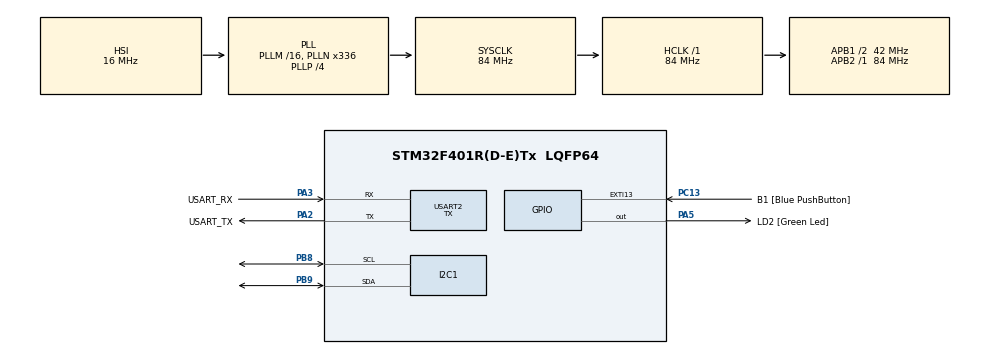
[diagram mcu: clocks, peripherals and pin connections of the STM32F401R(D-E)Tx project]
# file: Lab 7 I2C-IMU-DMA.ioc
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Dma.I2C1_RX.1.Direction=DMA_PERIPH_TO_MEMORY
Dma.I2C1_RX.1.FIFOMode=DMA_FIFOMODE_DISABLE
Dma.I2C1_RX.1.Instance=DMA1_Stream0
Dma.I2C1_RX.1.MemDataAlignment=DMA_MDATAALIGN_BYTE
Dma.I2C1_RX.1.MemInc=DMA_MINC_ENABLE
Dma.I2C1_RX.1.Mode=DMA_NORMAL
Dma.I2C1_RX.1.PeriphDataAlignment=DMA_PDATAALIGN_BYTE
Dma.I2C1_RX.1.PeriphInc=DMA_PINC_DISABLE
Dma.I2C1_RX.1.Priority=DMA_PRIORITY_LOW
Dma.I2C1_TX.2.Direction=DMA_MEMORY_TO_PERIPH
Dma.I2C1_TX.2.FIFOMode=DMA_FIFOMODE_DISABLE
Dma.I2C1_TX.2.Instance=DMA1_Stream7
Dma.I2C1_TX.2.MemDataAlignment=DMA_MDATAALIGN_BYTE
Dma.I2C1_TX.2.MemInc=DMA_MINC_ENABLE
Dma.I2C1_TX.2.Mode=DMA_NORMAL
Dma.I2C1_TX.2.PeriphDataAlignment=DMA_PDATAALIGN_BYTE
Dma.I2C1_TX.2.PeriphInc=DMA_PINC_DISABLE
Dma.I2C1_TX.2.Priority=DMA_PRIORITY_LOW
Dma.Request0=USART2_TX
Dma.Request1=I2C1_RX
Dma.Request2=I2C1_TX
Dma.USART2_TX.0.Direction=DMA_MEMORY_TO_PERIPH
Dma.USART2_TX.0.FIFOMode=DMA_FIFOMODE_DISABLE
Dma.USART2_TX.0.Instance=DMA1_Stream6
Dma.USART2_TX.0.MemDataAlignment=DMA_MDATAALIGN_BYTE
Dma.USART2_TX.0.MemInc=DMA_MINC_ENABLE
Dma.USART2_TX.0.Mode=DMA_NORMAL
Dma.USART2_TX.0.PeriphDataAlignment=DMA_PDATAALIGN_BYTE
Dma.USART2_TX.0.PeriphInc=DMA_PINC_DISABLE
Dma.USART2_TX.0.Priority=DMA_PRIORITY_LOW
Mcu.Family=STM32F4
Mcu.Name=STM32F401R(D-E)Tx
Mcu.Package=LQFP64
NVIC.DMA1_Stream0_IRQn=true\:0\:0\:false\:false\:true\:false\:true\:true
NVIC.DMA1_Stream6_IRQn=true\:0\:0\:false\:false\:true\:false\:true\:true
NVIC.DMA1_Stream7_IRQn=true\:0\:0\:false\:false\:true\:false\:true\:true
NVIC.I2C1_EV_IRQn=true\:0\:0\:false\:false\:true\:true\:true\:true
NVIC.PriorityGroup=NVIC_PRIORITYGROUP_1
NVIC.TIM2_IRQn=true\:0\:0\:false\:false\:true\:true\:true\:true
NVIC.USART2_IRQn=true\:0\:0\:true\:false\:true\:true\:true\:true
PA13.GPIO_Label=TMS
PA13.Mode=Serial_Wire
PA13.Signal=SYS_JTMS-SWDIO
PA14.GPIO_Label=TCK
PA14.Mode=Serial_Wire
PA14.Signal=SYS_JTCK-SWCLK
PA2.GPIO_Label=USART_TX
PA2.GPIO_Mode=GPIO_MODE_AF_PP
PA2.GPIO_PuPd=GPIO_NOPULL
PA2.GPIO_Speed=GPIO_SPEED_FREQ_LOW
PA2.Mode=Asynchronous
PA2.Signal=USART2_TX
PA3.GPIO_Label=USART_RX
PA3.GPIO_Mode=GPIO_MODE_AF_PP
PA3.GPIO_PuPd=GPIO_NOPULL
PA3.GPIO_Speed=GPIO_SPEED_FREQ_LOW
PA3.Mode=Asynchronous
PA3.Signal=USART2_RX
PA5.GPIO_Label=LD2 [Green Led]
PA5.GPIO_Mode=GPIO_MODE_OUTPUT_PP
PA5.GPIO_PuPd=GPIO_NOPULL
PA5.GPIO_Speed=GPIO_SPEED_FREQ_LOW
PA5.Signal=GPIO_Output
PB3.GPIO_Label=SWO
PB3.Signal=SYS_JTDO-SWO
PB8.Mode=I2C
PB8.Signal=I2C1_SCL
PB9.Mode=I2C
PB9.Signal=I2C1_SDA
PC13-ANTI_TAMP.GPIO_Label=B1 [Blue PushButton]
PC13-ANTI_TAMP.GPIO_ModeDefaultEXTI=GPIO_MODE_IT_FALLING
PC13-ANTI_TAMP.GPIO_PuPd=GPIO_NOPULL
PC13-ANTI_TAMP.Signal=GPXTI13
PC14-OSC32_IN.Mode=LSE-External-Oscillator
PC14-OSC32_IN.Signal=RCC_OSC32_IN
PC15-OSC32_OUT.Mode=LSE-External-Oscillator
PC15-OSC32_OUT.Signal=RCC_OSC32_OUT
PH0\ -\ OSC_IN.Mode=HSE-External-Clock-Source
PH0\ -\ OSC_IN.Signal=RCC_OSC_IN
PH1\ -\ OSC_OUT.Mode=HSE-External-Clock-Source
PH1\ -\ OSC_OUT.Signal=RCC_OSC_OUT
ProjectManager.HeapSize=0x200
ProjectManager.StackSize=0x400
ProjectManager.TargetToolchain=STM32CubeIDE
RCC.48MHZClocksFreq_Value=48000000
RCC.AHBFreq_Value=84000000
RCC.APB1CLKDivider=RCC_HCLK_DIV2
RCC.APB1Freq_Value=42000000
RCC.APB1TimFreq_Value=84000000
RCC.APB2Freq_Value=84000000
RCC.APB2TimFreq_Value=84000000
RCC.CortexFreq_Value=84000000
RCC.HCLKFreq_Value=84000000
RCC.HSE_VALUE=8000000
RCC.HSI_VALUE=16000000
RCC.PLLN=336
RCC.PLLP=RCC_PLLP_DIV4
RCC.PLLQ=7
RCC.SYSCLKFreq_VALUE=84000000
RCC.SYSCLKSource=RCC_SYSCLKSOURCE_PLLCLK
RCC.VCOOutputFreq_Value=336000000
TIM2.Period=10000-1
TIM2.Prescaler=8400-1
USART2.Mode=MODE_TX
USART2.VirtualMode=VM_ASYNC
VP_TIM2_VS_ClockSourceINT.Mode=Internal
board=NUCLEO-F401RE

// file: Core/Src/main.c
/* USER CODE BEGIN Header */
/**
 ******************************************************************************
 * @file           : main.c
 * @brief          : Main program body
 ******************************************************************************
 * @attention
 *
 * Copyright (c) 2023 STMicroelectronics.
 * All rights reserved.
 *
 * This software is licensed under terms that can be found in the LICENSE file
 * in the root directory of this software component.
 * If no LICENSE file comes with this software, it is provided AS-IS.
 *
 ******************************************************************************
 */
/* USER CODE END Header */
#include "main.h"

/* USER CODE BEGIN Includes */
#include <stdio.h>
#include <string.h>
/* USER CODE END Includes */

I2C_HandleTypeDef hi2c1;
DMA_HandleTypeDef hdma_i2c1_rx;
DMA_HandleTypeDef hdma_i2c1_tx;

TIM_HandleTypeDef htim2;

UART_HandleTypeDef huart2;
DMA_HandleTypeDef hdma_usart2_tx;

void SystemClock_Config(void);
static void MX_GPIO_Init(void);
static void MX_DMA_Init(void);
static void MX_USART2_UART_Init(void);
static void MX_I2C1_Init(void);
static void MX_TIM2_Init(void);

/* USER CODE BEGIN 0 */
uint8_t device_addr = 0b01010000;
int8_t data[5];

void HAL_I2C_MasterTxCpltCallback(I2C_HandleTypeDef *hi2c) {
	//when we are done transmitting we start the receive
	HAL_I2C_Master_Receive_DMA(&hi2c1, device_addr + 1, data, 5);
}

void HAL_I2C_MasterRxCpltCallback(I2C_HandleTypeDef *hi2c) {

	//data is received: we can elaborate it
	char string[128];
	float x = (float) data[0] / 64.0;
	float y = (float) data[2] / 64.0;
	float z = (float) data[4] / 64.0;

	int len = snprintf(string, sizeof(string), "X: %.3fg\t\tY: %.3fg\t\tZ: %.3fg\r\n", x, y, z);
	HAL_UART_Transmit_DMA(&huart2, string, len);

}

void HAL_TIM_PeriodElapsedCallback(TIM_HandleTypeDef *htim) {
	if (htim == &htim2) {
		//This code is executed when TIM2 period is elapsed
		const uint8_t X_pin = 0b10101001; //location of x data with autoincrement

		//ask the DMA to start the transmission
		HAL_I2C_Master_Transmit_DMA(&hi2c1, device_addr, &X_pin, 1); //telling from which variable i want to read

	}
}
/* USER CODE END 0 */

int main(void)
{

  /* MCU Configuration--------------------------------------------------------*/

  /* Reset of all peripherals, Initializes the Flash interface and the Systick. */
  HAL_Init();

  /* Configure the system clock */
  SystemClock_Config();

  /* Initialize all configured peripherals */
  MX_GPIO_Init();
  MX_DMA_Init();
  MX_USART2_UART_Init();
  MX_I2C1_Init();
  MX_TIM2_Init();
  /* USER CODE BEGIN 2 */
	const uint8_t CTRL_REG1_data[2] = { 0b0100000, 0b00010111 };
	const uint8_t CTRL_REG2_data[2] = { 0b0100001, 0b00000000 };
	const uint8_t CTRL_REG4_data[2] = { 0b0100011, 0b00000000 };

	//define which sensor is the one on the board and define correct parameters
	if (HAL_I2C_Master_Transmit(&hi2c1, device_addr, CTRL_REG1_data,sizeof(CTRL_REG1_data), 1000) != HAL_OK) {
		device_addr = 0b00110000;
		if (HAL_I2C_Master_Transmit(&hi2c1, device_addr, CTRL_REG1_data, sizeof(CTRL_REG1_data), 1000) != HAL_OK) {
			HAL_UART_Transmit(&huart2, (uint8_t*) "ERROR\n", 7, 100);

			Error_Handler();
		}
	}

	HAL_I2C_Master_Transmit(&hi2c1, device_addr, CTRL_REG2_data, sizeof(CTRL_REG2_data), 50);
	HAL_I2C_Master_Transmit(&hi2c1, device_addr, CTRL_REG4_data, sizeof(CTRL_REG4_data), 50);

	HAL_TIM_Base_Start_IT(&htim2);
  /* USER CODE END 2 */

  /* Infinite loop */
	while (1) {

	}
}

void SystemClock_Config(void)
{
  RCC_OscInitTypeDef RCC_OscInitStruct = {0};
  RCC_ClkInitTypeDef RCC_ClkInitStruct = {0};

  /** Configure the main internal regulator output voltage
  */
  __HAL_RCC_PWR_CLK_ENABLE();
  __HAL_PWR_VOLTAGESCALING_CONFIG(PWR_REGULATOR_VOLTAGE_SCALE2);

  /** Initializes the RCC Oscillators according to the specified parameters
  * in the RCC_OscInitTypeDef structure.
  */
  RCC_OscInitStruct.OscillatorType = RCC_OSCILLATORTYPE_HSI;
  RCC_OscInitStruct.HSIState = RCC_HSI_ON;
  RCC_OscInitStruct.HSICalibrationValue = RCC_HSICALIBRATION_DEFAULT;
  RCC_OscInitStruct.PLL.PLLState = RCC_PLL_ON;
  RCC_OscInitStruct.PLL.PLLSource = RCC_PLLSOURCE_HSI;
  RCC_OscInitStruct.PLL.PLLM = 16;
  RCC_OscInitStruct.PLL.PLLN = 336;
  RCC_OscInitStruct.PLL.PLLP = RCC_PLLP_DIV4;
  RCC_OscInitStruct.PLL.PLLQ = 7;
  if (HAL_RCC_OscConfig(&RCC_OscInitStruct) != HAL_OK)
  {
    Error_Handler();
  }

  /** Initializes the CPU, AHB and APB buses clocks
  */
  RCC_ClkInitStruct.ClockType = RCC_CLOCKTYPE_HCLK|RCC_CLOCKTYPE_SYSCLK
                              |RCC_CLOCKTYPE_PCLK1|RCC_CLOCKTYPE_PCLK2;
  RCC_ClkInitStruct.SYSCLKSource = RCC_SYSCLKSOURCE_PLLCLK;
  RCC_ClkInitStruct.AHBCLKDivider = RCC_SYSCLK_DIV1;
  RCC_ClkInitStruct.APB1CLKDivider = RCC_HCLK_DIV2;
  RCC_ClkInitStruct.APB2CLKDivider = RCC_HCLK_DIV1;

  if (HAL_RCC_ClockConfig(&RCC_ClkInitStruct, FLASH_LATENCY_2) != HAL_OK)
  {
    Error_Handler();
  }
}

static void MX_I2C1_Init(void)
{

  hi2c1.Instance = I2C1;
  hi2c1.Init.ClockSpeed = 100000;
  hi2c1.Init.DutyCycle = I2C_DUTYCYCLE_2;
  hi2c1.Init.OwnAddress1 = 0;
  hi2c1.Init.AddressingMode = I2C_ADDRESSINGMODE_7BIT;
  hi2c1.Init.DualAddressMode = I2C_DUALADDRESS_DISABLE;
  hi2c1.Init.OwnAddress2 = 0;
  hi2c1.Init.GeneralCallMode = I2C_GENERALCALL_DISABLE;
  hi2c1.Init.NoStretchMode = I2C_NOSTRETCH_DISABLE;
  if (HAL_I2C_Init(&hi2c1) != HAL_OK)
  {
    Error_Handler();
  }

}

static void MX_TIM2_Init(void)
{

  TIM_ClockConfigTypeDef sClockSourceConfig = {0};
  TIM_MasterConfigTypeDef sMasterConfig = {0};

  htim2.Instance = TIM2;
  htim2.Init.Prescaler = 8400-1;
  htim2.Init.CounterMode = TIM_COUNTERMODE_UP;
  htim2.Init.Period = 10000-1;
  htim2.Init.ClockDivision = TIM_CLOCKDIVISION_DIV1;
  htim2.Init.AutoReloadPreload = TIM_AUTORELOAD_PRELOAD_DISABLE;
  if (HAL_TIM_Base_Init(&htim2) != HAL_OK)
  {
    Error_Handler();
  }
  sClockSourceConfig.ClockSource = TIM_CLOCKSOURCE_INTERNAL;
  if (HAL_TIM_ConfigClockSource(&htim2, &sClockSourceConfig) != HAL_OK)
  {
    Error_Handler();
  }
  sMasterConfig.MasterOutputTrigger = TIM_TRGO_RESET;
  sMasterConfig.MasterSlaveMode = TIM_MASTERSLAVEMODE_DISABLE;
  if (HAL_TIMEx_MasterConfigSynchronization(&htim2, &sMasterConfig) != HAL_OK)
  {
    Error_Handler();
  }

}

static void MX_USART2_UART_Init(void)
{

  huart2.Instance = USART2;
  huart2.Init.BaudRate = 115200;
  huart2.Init.WordLength = UART_WORDLENGTH_8B;
  huart2.Init.StopBits = UART_STOPBITS_1;
  huart2.Init.Parity = UART_PARITY_NONE;
  huart2.Init.Mode = UART_MODE_TX;
  huart2.Init.HwFlowCtl = UART_HWCONTROL_NONE;
  huart2.Init.OverSampling = UART_OVERSAMPLING_16;
  if (HAL_UART_Init(&huart2) != HAL_OK)
  {
    Error_Handler();
  }

}

static void MX_DMA_Init(void)
{

  /* DMA controller clock enable */
  __HAL_RCC_DMA1_CLK_ENABLE();

  /* DMA interrupt init */
  /* DMA1_Stream0_IRQn interrupt configuration */
  HAL_NVIC_SetPriority(DMA1_Stream0_IRQn, 0, 0);
  HAL_NVIC_EnableIRQ(DMA1_Stream0_IRQn);
  /* DMA1_Stream6_IRQn interrupt configuration */
  HAL_NVIC_SetPriority(DMA1_Stream6_IRQn, 0, 0);
  HAL_NVIC_EnableIRQ(DMA1_Stream6_IRQn);
  /* DMA1_Stream7_IRQn interrupt configuration */
  HAL_NVIC_SetPriority(DMA1_Stream7_IRQn, 0, 0);
  HAL_NVIC_EnableIRQ(DMA1_Stream7_IRQn);

}

static void MX_GPIO_Init(void)
{
  GPIO_InitTypeDef GPIO_InitStruct = {0};

  /* GPIO Ports Clock Enable */
  __HAL_RCC_GPIOC_CLK_ENABLE();
  __HAL_RCC_GPIOH_CLK_ENABLE();
  __HAL_RCC_GPIOA_CLK_ENABLE();
  __HAL_RCC_GPIOB_CLK_ENABLE();

  /*Configure GPIO pin Output Level */
  HAL_GPIO_WritePin(LD2_GPIO_Port, LD2_Pin, GPIO_PIN_RESET);

  /*Configure GPIO pin : B1_Pin */
  GPIO_InitStruct.Pin = B1_Pin;
  GPIO_InitStruct.Mode = GPIO_MODE_IT_FALLING;
  GPIO_InitStruct.Pull = GPIO_NOPULL;
  HAL_GPIO_Init(B1_GPIO_Port, &GPIO_InitStruct);

  /*Configure GPIO pin : LD2_Pin */
  GPIO_InitStruct.Pin = LD2_Pin;
  GPIO_InitStruct.Mode = GPIO_MODE_OUTPUT_PP;
  GPIO_InitStruct.Pull = GPIO_NOPULL;
  GPIO_InitStruct.Speed = GPIO_SPEED_FREQ_LOW;
  HAL_GPIO_Init(LD2_GPIO_Port, &GPIO_InitStruct);

}

void Error_Handler(void)
{
	__disable_irq();
	while (1) {
	}
}
